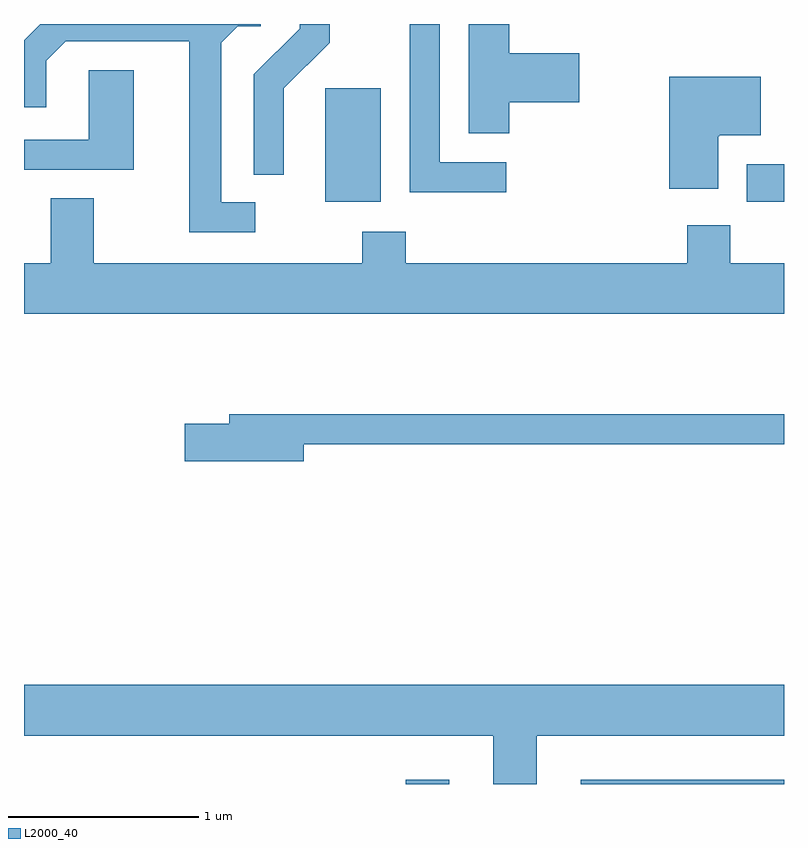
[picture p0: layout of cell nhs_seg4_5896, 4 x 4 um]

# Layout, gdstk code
import gdstk
lib = gdstk.Library(unit=1e-6, precision=1e-09)
def R(c, l, rs):  # rectangles x0, y0, x1, y1
    for r in rs: c.add(gdstk.rectangle(r[:2], r[2:], *l))
def P(c, l, *ps):  # polygons
    for p in ps: c.add(gdstk.Polygon(p, *l))
L2000_40 = (2000, 40)

nhs_seg4_5896 = lib.new_cell('nhs_seg4_5896')
R(nhs_seg4_5896, L2000_40, [(359.621,1349.982,359.849,1350.004), (360.541,1349.982,361.611,1350.004), (359.196,1353.046,359.489,1353.644), (361.416,1353.046,361.611,1353.244)])
P(nhs_seg4_5896, L2000_40, [(358.979,1353.644),(359.219,1353.884),(359.219,1353.982),(359.061,1353.982),(359.061,1353.957),(358.821,1353.717),(358.821,1353.188),(358.979,1353.188)],
  [(360.148,1353.254),(359.799,1353.254),(359.799,1353.982),(359.641,1353.982),(359.641,1353.096),(360.148,1353.096)],
  [(358.828,1353.044),(358.649,1353.044),(358.649,1353.884),(358.737,1353.971),(358.858,1353.971),(358.858,1353.982),(357.697,1353.982),(357.611,1353.897),(357.611,1353.543),(357.729,1353.543),(357.729,1353.789),(357.832,1353.891),(358.481,1353.891),(358.481,1352.886),(358.828,1352.886)],
  [(360.164,1353.571),(360.534,1353.571),(360.534,1353.829),(360.164,1353.829),(360.164,1353.982),(359.951,1353.982),(359.951,1353.406),(360.164,1353.406)],
  [(358.189,1353.739),(357.951,1353.739),(357.951,1353.374),(357.611,1353.374),(357.611,1353.216),(358.189,1353.216)],
  [(361.264,1353.39),(361.27,1353.39),(361.27,1353.396),(361.489,1353.396),(361.489,1353.704),(361.006,1353.704),(361.006,1353.116),(361.264,1353.116)],
  [(357.751,1353.064),(357.751,1352.724),(357.611,1352.724),(357.611,1352.456),(361.611,1352.456),(361.611,1352.724),(361.329,1352.724),(361.329,1352.924),(361.101,1352.924),(361.101,1352.724),(359.619,1352.724),(359.619,1352.889),(359.391,1352.889),(359.391,1352.724),(357.979,1352.724),(357.979,1353.064)],
  [(359.084,1351.771),(361.611,1351.771),(361.611,1351.929),(358.691,1351.929),(358.691,1351.879),(358.456,1351.879),(358.456,1351.681),(359.084,1351.681)],
  [(360.309,1350.236),(361.611,1350.236),(361.611,1350.504),(357.611,1350.504),(357.611,1350.236),(360.081,1350.236),(360.081,1349.982),(360.309,1349.982)])

lib.write_gds('nhs_seg4_5896.gds')
